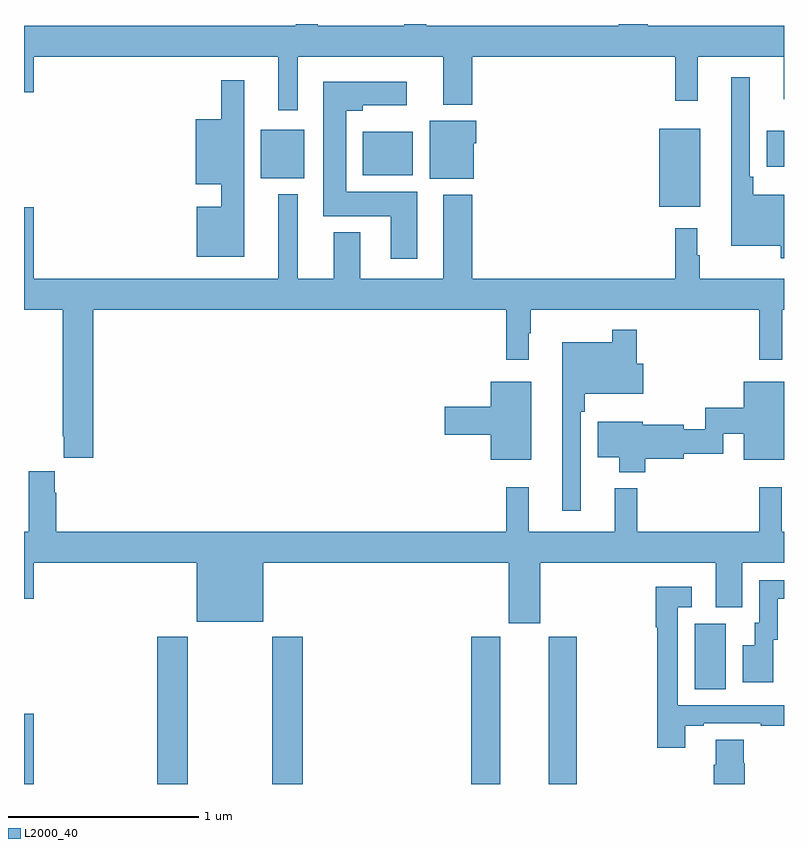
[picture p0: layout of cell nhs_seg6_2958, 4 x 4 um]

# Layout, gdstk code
import gdstk
lib = gdstk.Library(unit=1e-6, precision=1e-09)
def R(c, l, rs):  # rectangles x0, y0, x1, y1
    for r in rs: c.add(gdstk.rectangle(r[:2], r[2:], *l))
def P(c, l, *ps):  # polygons
    for p in ps: c.add(gdstk.Polygon(p, *l))
L2000_40 = (2000, 40)

nhs_seg6_2958 = lib.new_cell('nhs_seg6_2958')
R(nhs_seg6_2958, L2000_40, [(285,951.5,285.052,951.871), (285.701,951.5,285.861,952.276), (286.306,951.5,286.466,952.276), (287.354,951.5,287.506,952.275), (287.762,951.5,287.91,952.275), (288.53,952,288.694,952.344), (288.344,954.539,288.559,954.949), (286.247,954.689,286.474,954.943), (286.784,954.704,287.047,954.934), (288.908,954.749,289,954.937)])
P(nhs_seg6_2958, L2000_40, [(287.207,955.076),(287.36,955.076),(287.36,955.328),(288.427,955.328),(288.427,955.095),(288.545,955.095),(288.545,955.328),(288.998,955.328),(288.998,955.103),(289,955.103),(289,955.492),(288.283,955.492),(288.283,955.5),(288.131,955.5),(288.131,955.492),(287.117,955.492),(287.117,955.5),(287,955.5),(287,955.492),(286.547,955.492),(286.547,955.5),(286.429,955.5),(286.429,955.492),(285,955.492),(285,955.14),(285.052,955.14),(285.052,955.328),(286.337,955.328),(286.337,955.047),(286.441,955.047),(286.441,955.328),(287.207,955.328)],
  [(289,954.601),(288.839,954.601),(288.839,954.697),(288.819,954.697),(288.819,955.219),(288.722,955.219),(288.722,954.332),(288.984,954.332),(288.984,954.267),(289,954.267)],
  [(286.159,955.204),(286.038,955.204),(286.038,955),(285.905,955),(285.905,954.656),(286.038,954.656),(286.038,954.538),(285.908,954.538),(285.908,954.275),(286.159,954.275)],
  [(287.071,954.616),(286.696,954.616),(286.696,955.043),(286.783,955.043),(286.783,955.073),(287.014,955.073),(287.014,955.195),(286.574,955.195),(286.574,954.488),(286.931,954.488),(286.931,954.264),(287.071,954.264)],
  [(287.368,954.873),(287.38,954.873),(287.38,954.991),(287.135,954.991),(287.135,954.686),(287.368,954.686)],
  [(285.365,953.996),(287.539,953.996),(287.539,953.733),(287.656,953.733),(287.656,953.873),(287.668,953.873),(287.668,953.996),(288.871,953.996),(288.871,953.733),(288.99,953.733),(288.99,953.996),(289,953.996),(289,954.16),(288.556,954.16),(288.556,954.284),(288.544,954.284),(288.544,954.424),(288.427,954.424),(288.427,954.16),(287.36,954.16),(287.36,954.601),(287.207,954.601),(287.207,954.16),(286.771,954.16),(286.771,954.403),(286.631,954.403),(286.631,954.16),(286.441,954.16),(286.441,954.604),(286.337,954.604),(286.337,954.16),(285.052,954.16),(285.052,954.535),(285,954.535),(285,953.996),(285.205,953.996),(285.205,953.329),(285.209,953.329),(285.209,953.217),(285.365,953.217)],
  [(287.931,953.459),(287.951,953.459),(287.951,953.555),(288.259,953.555),(288.259,953.713),(288.224,953.713),(288.224,953.89),(288.096,953.89),(288.096,953.824),(287.834,953.824),(287.834,952.938),(287.931,952.938)],
  [(288.269,953.212),(288.472,953.212),(288.472,953.238),(288.681,953.238),(288.681,953.344),(288.788,953.344),(288.788,953.207),(289,953.207),(289,953.617),(288.788,953.617),(288.788,953.48),(288.585,953.48),(288.585,953.366),(288.472,953.366),(288.472,953.39),(288.256,953.39),(288.256,953.407),(288.02,953.407),(288.02,953.219),(288.134,953.219),(288.134,953.141),(288.269,953.141)],
  [(287.671,953.617),(287.456,953.617),(287.456,953.486),(287.214,953.486),(287.214,953.339),(287.456,953.339),(287.456,953.207),(287.671,953.207)],
  [(287.716,952.664),(288.641,952.664),(288.641,952.429),(288.781,952.429),(288.781,952.664),(289,952.664),(289,952.828),(288.989,952.828),(288.989,953.062),(288.871,953.062),(288.871,952.828),(288.227,952.828),(288.227,953.056),(288.11,953.056),(288.11,952.828),(287.657,952.828),(287.657,953.062),(287.539,953.062),(287.539,952.828),(285.17,952.828),(285.17,953.033),(285.163,953.033),(285.163,953.146),(285.026,953.146),(285.026,952.828),(285,952.828),(285,952.476),(285.052,952.476),(285.052,952.664),(285.908,952.664),(285.908,952.355),(286.258,952.355),(286.258,952.664),(287.552,952.664),(287.552,952.347),(287.716,952.347)],
  [(288.943,952.26),(288.967,952.26),(288.967,952.476),(289,952.476),(289,952.572),(288.87,952.572),(288.87,952.35),(288.845,952.35),(288.845,952.231),(288.782,952.231),(288.782,952.035),(288.943,952.035)],
  [(288.481,951.807),(288.577,951.807),(288.577,951.819),(288.877,951.819),(288.877,951.807),(289,951.807),(289,951.915),(288.441,951.915),(288.441,952.431),(288.514,952.431),(288.514,952.537),(288.325,952.537),(288.325,952.324),(288.333,952.324),(288.333,951.69),(288.481,951.69)],
  [(288.794,951.609),(288.789,951.609),(288.789,951.734),(288.641,951.734),(288.641,951.602),(288.629,951.602),(288.629,951.5),(288.794,951.5)])

lib.write_gds('nhs_seg6_2958.gds')
